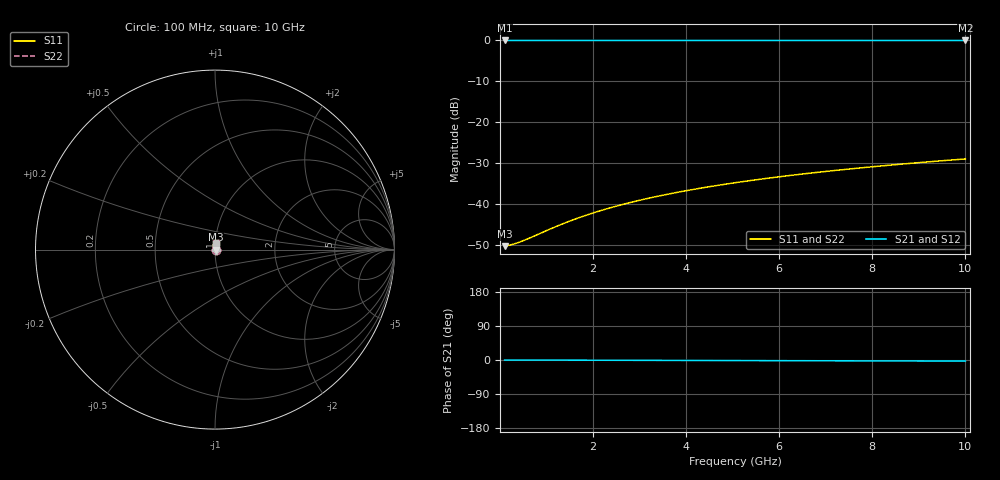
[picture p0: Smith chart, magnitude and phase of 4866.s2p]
# Hz S RI R 50.00
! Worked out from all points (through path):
!   100 points, 100 MHz to 10 GHz, reference 50 ohm
!   highest |S21| = -0.03 dB at 100 MHz (marker M1); lowest = 0.0 dB at 10 GHz (marker M2)
!   lowest |S11| = -50.4 dB at 100 MHz (marker M3), VSWR 1.01, Z = 50.3 + j0.0353 ohm
!   |S11| at or under -10 dB: start of sweep to end of sweep
!   |S22| runs from -50.4 to -29.0 dB; largest |S21 - S12| = 0
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1e8  0.00301 0.000351  0.997 -0.000509  0.997 -0.000509  0.00301 0.000351
2e8  0.00303 0.000702  0.997 -0.00102  0.997 -0.00102  0.00303 0.000702
3e8  0.00305 0.00105  0.997 -0.00153  0.997 -0.00153  0.00305 0.00105
5e8  0.00307 0.00176  0.9969 -0.00255  0.9969 -0.00255  0.00307 0.00176
1.1e9  0.00313 0.00386  0.9969 -0.0056  0.9969 -0.0056  0.00313 0.00386
1.3e9  0.00315 0.00456  0.9968 -0.00662  0.9968 -0.00662  0.00315 0.00456
1.5e9  0.00317 0.00526  0.9968 -0.00764  0.9968 -0.00764  0.00317 0.00526
1.8e9  0.0032 0.00632  0.9968 -0.00917  0.9968 -0.00917  0.0032 0.00632
2.1e9  0.00323 0.00737  0.9968 -0.0107  0.9968 -0.0107  0.00323 0.00737
2.5e9  0.00328 0.00877  0.9967 -0.0127  0.9967 -0.0127  0.00328 0.00877
2.9e9  0.00333 0.0102  0.9967 -0.0148  0.9967 -0.0148  0.00333 0.0102
3.4e9  0.0034 0.0119  0.9966 -0.0173  0.9966 -0.0173  0.0034 0.0119
3.8e9  0.00346 0.0133  0.9965 -0.0194  0.9965 -0.0194  0.00346 0.0133
4.2e9  0.00353 0.0147  0.9964 -0.0214  0.9964 -0.0214  0.00353 0.0147
4.6e9  0.0036 0.0161  0.9964 -0.0234  0.9964 -0.0234  0.0036 0.0161
5.1e9  0.0037 0.0179  0.9963 -0.026  0.9963 -0.026  0.0037 0.0179
5.9e9  0.00388 0.0207  0.9961 -0.03  0.9961 -0.03  0.00388 0.0207
6.7e9  0.00408 0.0235  0.9959 -0.0341  0.9959 -0.0341  0.00408 0.0235
7.5e9  0.0043 0.0263  0.9956 -0.0382  0.9956 -0.0382  0.0043 0.0263
8.4e9  0.00457 0.0294  0.9953 -0.0428  0.9953 -0.0428  0.00457 0.0294
9.2e9  0.00484 0.0322  0.995 -0.0468  0.995 -0.0468  0.00484 0.0322
1e10  0.00513 0.035  0.9947 -0.0509  0.9947 -0.0509  0.00513 0.035
